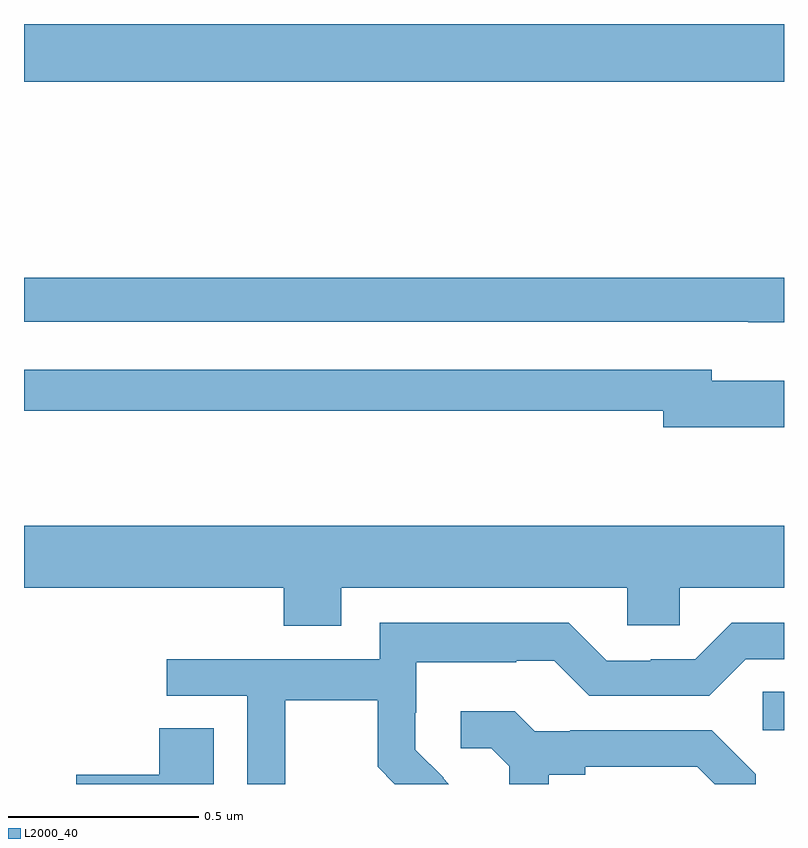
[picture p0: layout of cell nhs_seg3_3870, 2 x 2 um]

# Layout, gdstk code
import gdstk
lib = gdstk.Library(unit=1e-6, precision=1e-09)
def R(c, l, rs):  # rectangles x0, y0, x1, y1
    for r in rs: c.add(gdstk.rectangle(r[:2], r[2:], *l))
def P(c, l, *ps):  # polygons
    for p in ps: c.add(gdstk.Polygon(p, *l))
L2000_40 = (2000, 40)

nhs_seg3_3870 = lib.new_cell('nhs_seg3_3870')
R(nhs_seg3_3870, L2000_40, [(160.944,700.542,161,700.643), (159,702.248,161,702.4)])
P(nhs_seg3_3870, L2000_40, [(161,701.732),(159,701.732),(159,701.616),(160.906,701.616),(160.906,701.615),(161,701.615)],
  [(161,701.461),(160.81,701.461),(160.81,701.49),(159,701.49),(159,701.382),(160.682,701.382),(160.682,701.339),(161,701.339)],
  [(159.835,700.916),(160.587,700.916),(160.587,700.818),(160.725,700.818),(160.725,700.916),(161,700.916),(161,701.08),(159,701.08),(159,700.916),(159.683,700.916),(159.683,700.817),(159.835,700.817)],
  [(159.687,700.62),(159.931,700.62),(159.931,700.445),(159.976,700.4),(160.118,700.4),(160.103,700.415),(160.104,700.416),(160.03,700.49),(160.03,700.587),(160.032,700.587),(160.032,700.721),(160.295,700.721),(160.295,700.725),(160.395,700.725),(160.488,700.632),(160.803,700.632),(160.899,700.728),(161,700.728),(161,700.824),(160.863,700.824),(160.767,700.728),(160.649,700.728),(160.649,700.725),(160.533,700.725),(160.433,700.825),(159.936,700.825),(159.936,700.728),(159.375,700.728),(159.375,700.632),(159.588,700.632),(159.588,700.4),(159.687,700.4)],
  [(160.381,700.424),(160.477,700.424),(160.477,700.446),(160.772,700.446),(160.818,700.4),(160.926,700.4),(160.926,700.426),(160.81,700.542),(160.438,700.542),(160.438,700.539),(160.344,700.539),(160.292,700.591),(160.149,700.591),(160.149,700.494),(160.23,700.494),(160.277,700.447),(160.277,700.4),(160.381,700.4)],
  [(159.499,700.547),(159.356,700.547),(159.356,700.424),(159.138,700.424),(159.138,700.4),(159.499,700.4)])

lib.write_gds('nhs_seg3_3870.gds')
